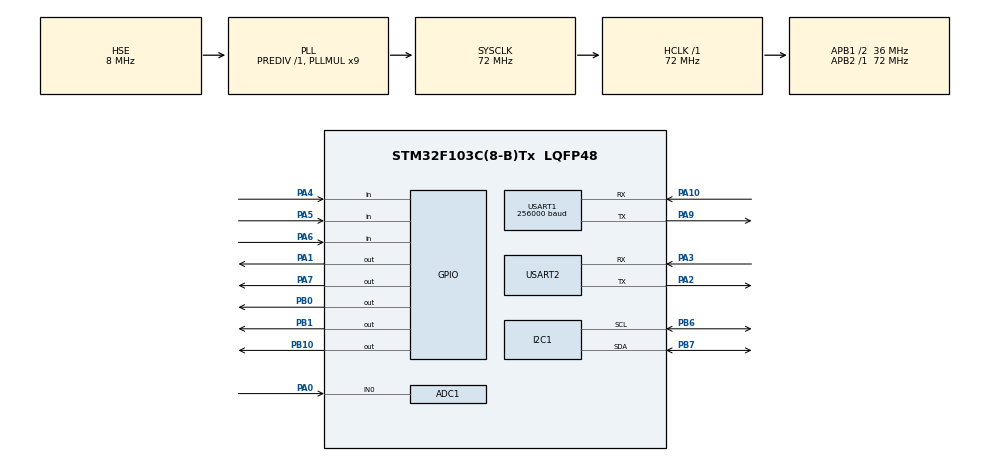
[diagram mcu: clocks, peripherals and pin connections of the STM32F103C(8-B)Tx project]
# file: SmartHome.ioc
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ADC1.Channel-4\#ChannelRegularConversion=ADC_CHANNEL_0
ADC1.ContinuousConvMode=DISABLE
ADC1.NbrOfConversion=1
ADC1.NbrOfConversionFlag=1
ADC1.Rank-4\#ChannelRegularConversion=1
ADC1.SamplingTime-4\#ChannelRegularConversion=ADC_SAMPLETIME_71CYCLES_5
ADC1.master=1
I2C1.I2C_Mode=I2C_Fast
Mcu.Family=STM32F1
Mcu.Name=STM32F103C(8-B)Tx
Mcu.Package=LQFP48
NVIC.PriorityGroup=NVIC_PRIORITYGROUP_4
NVIC.USART1_IRQn=true\:0\:0\:false\:false\:true\:true\:true
NVIC.USART2_IRQn=true\:0\:0\:false\:false\:true\:true\:true
PA0-WKUP.Signal=ADCx_IN0
PA1.Signal=GPIO_Output
PA10.Mode=Asynchronous
PA10.Signal=USART1_RX
PA13.Mode=Serial_Wire
PA13.Signal=SYS_JTMS-SWDIO
PA14.Mode=Serial_Wire
PA14.Signal=SYS_JTCK-SWCLK
PA2.Mode=Asynchronous
PA2.Signal=USART2_TX
PA3.Mode=Asynchronous
PA3.Signal=USART2_RX
PA4.GPIO_PuPd=GPIO_NOPULL
PA4.Signal=GPIO_Input
PA5.GPIO_PuPd=GPIO_NOPULL
PA5.Signal=GPIO_Input
PA6.Signal=GPIO_Input
PA7.PinState=GPIO_PIN_SET
PA7.Signal=GPIO_Output
PA9.Mode=Asynchronous
PA9.Signal=USART1_TX
PB0.PinState=GPIO_PIN_SET
PB0.Signal=GPIO_Output
PB1.PinState=GPIO_PIN_SET
PB1.Signal=GPIO_Output
PB10.PinState=GPIO_PIN_SET
PB10.Signal=GPIO_Output
PB6.Mode=I2C
PB6.Signal=I2C1_SCL
PB7.Mode=I2C
PB7.Signal=I2C1_SDA
PD0-OSC_IN.Mode=HSE-External-Oscillator
PD0-OSC_IN.Signal=RCC_OSC_IN
PD1-OSC_OUT.Mode=HSE-External-Oscillator
PD1-OSC_OUT.Signal=RCC_OSC_OUT
ProjectManager.HeapSize=0x200
ProjectManager.StackSize=0x400
ProjectManager.TargetToolchain=STM32CubeIDE
RCC.ADCPresc=RCC_ADCPCLK2_DIV6
RCC.AHBFreq_Value=72000000
RCC.APB1CLKDivider=RCC_HCLK_DIV2
RCC.APB1Freq_Value=36000000
RCC.APB1TimFreq_Value=72000000
RCC.APB2Freq_Value=72000000
RCC.APB2TimFreq_Value=72000000
RCC.HCLKFreq_Value=72000000
RCC.PLLMUL=RCC_PLL_MUL9
RCC.PLLSourceVirtual=RCC_PLLSOURCE_HSE
RCC.SYSCLKFreq_VALUE=72000000
RCC.SYSCLKSource=RCC_SYSCLKSOURCE_PLLCLK
RCC.USBFreq_Value=72000000
SH.ADCx_IN0.0=ADC1_IN0,IN0
TIM1.Prescaler=72-1
USART1.BaudRate=256000
USART1.VirtualMode=VM_ASYNC
USART2.VirtualMode=VM_ASYNC
VP_TIM1_VS_ClockSourceINT.Mode=Internal
board=custom

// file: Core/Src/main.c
/* USER CODE BEGIN Header */
/**
  ******************************************************************************
  * @file           : main.c
  * @brief          : Main program body
  ******************************************************************************
  * @attention
  *
  * <h2><center>&copy; Copyright (c) 2026 STMicroelectronics.
  * All rights reserved.</center></h2>
  *
  * This software component is licensed by ST under BSD 3-Clause license,
  * the "License"; You may not use this file except in compliance with the
  * License. You may obtain a copy of the License at:
  *                        opensource.org/licenses/BSD-3-Clause
  *
  ******************************************************************************
  */
/* USER CODE END Header */
#include "main.h"

/* USER CODE BEGIN Includes */

#include "smart_home_system.h"
#include "sensor_manager.h"
#include "pc_serial_com.h"

/* USER CODE END Includes */

ADC_HandleTypeDef hadc1;

I2C_HandleTypeDef hi2c1;

TIM_HandleTypeDef htim1;

UART_HandleTypeDef huart1;
UART_HandleTypeDef huart2;

/* USER CODE BEGIN PV */

uint8_t radarRxByte;

uint8_t rxByte;	// Nhận Byte từ PC

/* USER CODE END PV */

void SystemClock_Config(void);
static void MX_GPIO_Init(void);
static void MX_ADC1_Init(void);
static void MX_TIM1_Init(void);
static void MX_I2C1_Init(void);
static void MX_USART1_UART_Init(void);
static void MX_USART2_UART_Init(void);

int main(void)
{

  /* MCU Configuration--------------------------------------------------------*/

  /* Reset of all peripherals, Initializes the Flash interface and the Systick. */
  HAL_Init();

  /* Configure the system clock */
  SystemClock_Config();

  /* Initialize all configured peripherals */
  MX_GPIO_Init();
  MX_ADC1_Init();
  MX_TIM1_Init();
  MX_I2C1_Init();
  MX_USART1_UART_Init();
  MX_USART2_UART_Init();
  /* USER CODE BEGIN 2 */

  smartHome_Init();

  HAL_UART_Receive_IT(&huart1, &radarRxByte, 1);	// Start UART1 interrupt

  HAL_UART_Receive_IT(&huart2, &rxByte, 1);			// Start UART2 interrupt

  /* USER CODE END 2 */

  /* Infinite loop */
  /* USER CODE BEGIN WHILE */
  while (1)
  {
	  smartHome_Run();

    /* USER CODE END WHILE */

  }
}

void SystemClock_Config(void)
{
  RCC_OscInitTypeDef RCC_OscInitStruct = {0};
  RCC_ClkInitTypeDef RCC_ClkInitStruct = {0};
  RCC_PeriphCLKInitTypeDef PeriphClkInit = {0};

  /** Initializes the RCC Oscillators according to the specified parameters
  * in the RCC_OscInitTypeDef structure.
  */
  RCC_OscInitStruct.OscillatorType = RCC_OSCILLATORTYPE_HSE;
  RCC_OscInitStruct.HSEState = RCC_HSE_ON;
  RCC_OscInitStruct.HSEPredivValue = RCC_HSE_PREDIV_DIV1;
  RCC_OscInitStruct.HSIState = RCC_HSI_ON;
  RCC_OscInitStruct.PLL.PLLState = RCC_PLL_ON;
  RCC_OscInitStruct.PLL.PLLSource = RCC_PLLSOURCE_HSE;
  RCC_OscInitStruct.PLL.PLLMUL = RCC_PLL_MUL9;
  if (HAL_RCC_OscConfig(&RCC_OscInitStruct) != HAL_OK)
  {
    Error_Handler();
  }
  /** Initializes the CPU, AHB and APB buses clocks
  */
  RCC_ClkInitStruct.ClockType = RCC_CLOCKTYPE_HCLK|RCC_CLOCKTYPE_SYSCLK
                              |RCC_CLOCKTYPE_PCLK1|RCC_CLOCKTYPE_PCLK2;
  RCC_ClkInitStruct.SYSCLKSource = RCC_SYSCLKSOURCE_PLLCLK;
  RCC_ClkInitStruct.AHBCLKDivider = RCC_SYSCLK_DIV1;
  RCC_ClkInitStruct.APB1CLKDivider = RCC_HCLK_DIV2;
  RCC_ClkInitStruct.APB2CLKDivider = RCC_HCLK_DIV1;

  if (HAL_RCC_ClockConfig(&RCC_ClkInitStruct, FLASH_LATENCY_2) != HAL_OK)
  {
    Error_Handler();
  }
  PeriphClkInit.PeriphClockSelection = RCC_PERIPHCLK_ADC;
  PeriphClkInit.AdcClockSelection = RCC_ADCPCLK2_DIV6;
  if (HAL_RCCEx_PeriphCLKConfig(&PeriphClkInit) != HAL_OK)
  {
    Error_Handler();
  }
}

static void MX_ADC1_Init(void)
{

  ADC_ChannelConfTypeDef sConfig = {0};

  /** Common config
  */
  hadc1.Instance = ADC1;
  hadc1.Init.ScanConvMode = ADC_SCAN_DISABLE;
  hadc1.Init.ContinuousConvMode = DISABLE;
  hadc1.Init.DiscontinuousConvMode = DISABLE;
  hadc1.Init.ExternalTrigConv = ADC_SOFTWARE_START;
  hadc1.Init.DataAlign = ADC_DATAALIGN_RIGHT;
  hadc1.Init.NbrOfConversion = 1;
  if (HAL_ADC_Init(&hadc1) != HAL_OK)
  {
    Error_Handler();
  }
  /** Configure Regular Channel
  */
  sConfig.Channel = ADC_CHANNEL_0;
  sConfig.Rank = ADC_REGULAR_RANK_1;
  sConfig.SamplingTime = ADC_SAMPLETIME_71CYCLES_5;
  if (HAL_ADC_ConfigChannel(&hadc1, &sConfig) != HAL_OK)
  {
    Error_Handler();
  }

}

static void MX_I2C1_Init(void)
{

  hi2c1.Instance = I2C1;
  hi2c1.Init.ClockSpeed = 400000;
  hi2c1.Init.DutyCycle = I2C_DUTYCYCLE_2;
  hi2c1.Init.OwnAddress1 = 0;
  hi2c1.Init.AddressingMode = I2C_ADDRESSINGMODE_7BIT;
  hi2c1.Init.DualAddressMode = I2C_DUALADDRESS_DISABLE;
  hi2c1.Init.OwnAddress2 = 0;
  hi2c1.Init.GeneralCallMode = I2C_GENERALCALL_DISABLE;
  hi2c1.Init.NoStretchMode = I2C_NOSTRETCH_DISABLE;
  if (HAL_I2C_Init(&hi2c1) != HAL_OK)
  {
    Error_Handler();
  }

}

static void MX_TIM1_Init(void)
{

  TIM_ClockConfigTypeDef sClockSourceConfig = {0};
  TIM_MasterConfigTypeDef sMasterConfig = {0};

  htim1.Instance = TIM1;
  htim1.Init.Prescaler = 72-1;
  htim1.Init.CounterMode = TIM_COUNTERMODE_UP;
  htim1.Init.Period = 65535;
  htim1.Init.ClockDivision = TIM_CLOCKDIVISION_DIV1;
  htim1.Init.RepetitionCounter = 0;
  htim1.Init.AutoReloadPreload = TIM_AUTORELOAD_PRELOAD_DISABLE;
  if (HAL_TIM_Base_Init(&htim1) != HAL_OK)
  {
    Error_Handler();
  }
  sClockSourceConfig.ClockSource = TIM_CLOCKSOURCE_INTERNAL;
  if (HAL_TIM_ConfigClockSource(&htim1, &sClockSourceConfig) != HAL_OK)
  {
    Error_Handler();
  }
  sMasterConfig.MasterOutputTrigger = TIM_TRGO_RESET;
  sMasterConfig.MasterSlaveMode = TIM_MASTERSLAVEMODE_DISABLE;
  if (HAL_TIMEx_MasterConfigSynchronization(&htim1, &sMasterConfig) != HAL_OK)
  {
    Error_Handler();
  }

}

static void MX_USART1_UART_Init(void)
{

  huart1.Instance = USART1;
  huart1.Init.BaudRate = 256000;
  huart1.Init.WordLength = UART_WORDLENGTH_8B;
  huart1.Init.StopBits = UART_STOPBITS_1;
  huart1.Init.Parity = UART_PARITY_NONE;
  huart1.Init.Mode = UART_MODE_TX_RX;
  huart1.Init.HwFlowCtl = UART_HWCONTROL_NONE;
  huart1.Init.OverSampling = UART_OVERSAMPLING_16;
  if (HAL_UART_Init(&huart1) != HAL_OK)
  {
    Error_Handler();
  }

}

static void MX_USART2_UART_Init(void)
{

  huart2.Instance = USART2;
  huart2.Init.BaudRate = 115200;
  huart2.Init.WordLength = UART_WORDLENGTH_8B;
  huart2.Init.StopBits = UART_STOPBITS_1;
  huart2.Init.Parity = UART_PARITY_NONE;
  huart2.Init.Mode = UART_MODE_TX_RX;
  huart2.Init.HwFlowCtl = UART_HWCONTROL_NONE;
  huart2.Init.OverSampling = UART_OVERSAMPLING_16;
  if (HAL_UART_Init(&huart2) != HAL_OK)
  {
    Error_Handler();
  }

}

static void MX_GPIO_Init(void)
{
  GPIO_InitTypeDef GPIO_InitStruct = {0};

  /* GPIO Ports Clock Enable */
  __HAL_RCC_GPIOD_CLK_ENABLE();
  __HAL_RCC_GPIOA_CLK_ENABLE();
  __HAL_RCC_GPIOB_CLK_ENABLE();

  /*Configure GPIO pin Output Level */
  HAL_GPIO_WritePin(GPIOA, GPIO_PIN_1, GPIO_PIN_RESET);

  /*Configure GPIO pin Output Level */
  HAL_GPIO_WritePin(GPIOA, GPIO_PIN_7, GPIO_PIN_SET);

  /*Configure GPIO pin Output Level */
  HAL_GPIO_WritePin(GPIOB, GPIO_PIN_0|GPIO_PIN_1|GPIO_PIN_10, GPIO_PIN_SET);

  /*Configure GPIO pins : PA1 PA7 */
  GPIO_InitStruct.Pin = GPIO_PIN_1|GPIO_PIN_7;
  GPIO_InitStruct.Mode = GPIO_MODE_OUTPUT_PP;
  GPIO_InitStruct.Pull = GPIO_NOPULL;
  GPIO_InitStruct.Speed = GPIO_SPEED_FREQ_LOW;
  HAL_GPIO_Init(GPIOA, &GPIO_InitStruct);

  /*Configure GPIO pins : PA4 PA5 PA6 */
  GPIO_InitStruct.Pin = GPIO_PIN_4|GPIO_PIN_5|GPIO_PIN_6;
  GPIO_InitStruct.Mode = GPIO_MODE_INPUT;
  GPIO_InitStruct.Pull = GPIO_NOPULL;
  HAL_GPIO_Init(GPIOA, &GPIO_InitStruct);

  /*Configure GPIO pins : PB0 PB1 PB10 */
  GPIO_InitStruct.Pin = GPIO_PIN_0|GPIO_PIN_1|GPIO_PIN_10;
  GPIO_InitStruct.Mode = GPIO_MODE_OUTPUT_PP;
  GPIO_InitStruct.Pull = GPIO_NOPULL;
  GPIO_InitStruct.Speed = GPIO_SPEED_FREQ_LOW;
  HAL_GPIO_Init(GPIOB, &GPIO_InitStruct);

}

/* USER CODE BEGIN 4 */

// Hàm CallBack nhận UART
void HAL_UART_RxCpltCallback(UART_HandleTypeDef *huart)
{
    if(huart->Instance == USART1)	// HLK-LD2410c
    {
    	//HAL_UART_Transmit(&huart2, &radarRxByte, 1, 10);
    	Sensor_Radar_UART_Callback(radarRxByte);
        HAL_UART_Receive_IT(&huart1, &radarRxByte, 1);	// (De quy)Tiếp tục nhận lại 1 byte dữ liệu->sinh ra ngắt.
    }

    if(huart->Instance == USART2)	// PC Serial Communication
    {
    	PC_Serial_ProcessCommand(rxByte, huart);
    	HAL_UART_Receive_IT(huart, &rxByte, 1);			// Nhận tiếp byte tiếp theo
    }
}

/* USER CODE END 4 */

void Error_Handler(void)
{
  __disable_irq();
  while (1)
  {
  }
}

/************************ (C) COPYRIGHT STMicroelectronics *****END OF FILE****/
